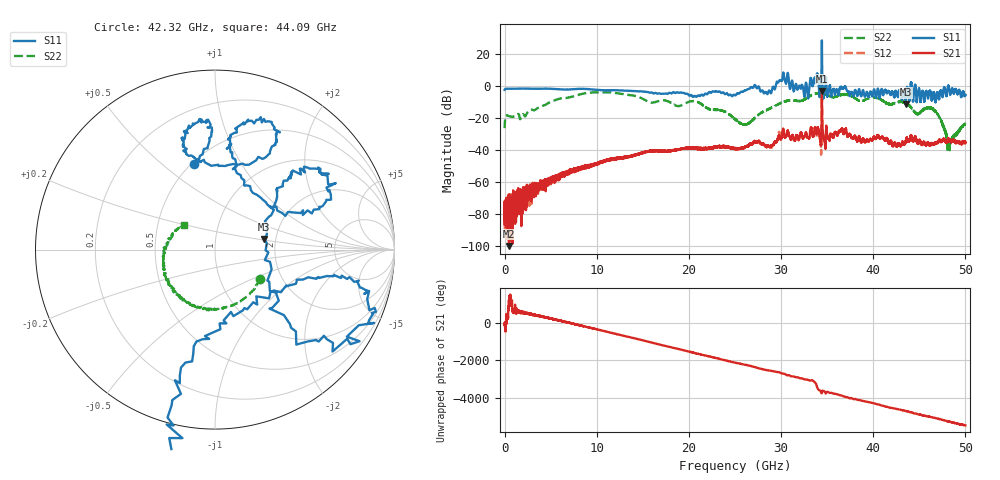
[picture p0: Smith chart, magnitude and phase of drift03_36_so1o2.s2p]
!Created with skrf (http://scikit-rf.org).
# Hz S RI R 50.0
!freq ReS11 ImS11 ReS21 ImS21 ReS12 ImS12 ReS22 ImS22
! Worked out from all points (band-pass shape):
!   10000 points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, 5.3 MHz to 50 GHz, reference 50 ohm
!   highest |S21| = -2.81 dB at 34.43 GHz (marker M1); lowest = -99.6 dB at 480.3 MHz (marker M2)
!   |S21| within 3 dB of the highest: 34.4274 GHz to 34.43517 GHz (7.77 MHz wide, 0.0226 % of centre)
!   lowest |S11| = -11.0 dB at 43.51 GHz (marker M3), VSWR 1.78, Z = 87 + j11.1 ohm
!   |S11| at or under -10 dB: 43.49219 GHz to 43.53699 GHz (44.8 MHz wide, 0.103 % of centre)
!   |S22| runs from -41.0 to -3.6 dB; largest |S21 - S12| = 0.22
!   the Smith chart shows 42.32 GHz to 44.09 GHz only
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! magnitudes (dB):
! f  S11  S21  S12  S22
! 5.3 MHz  -2.1  -76.4  -78.0  -26.0
! 480.3 MHz  -1.4  -99.6  -76.2  -18.6
! 2.22 GHz  -1.3  -66.1  -64.7  -18.7
! 8.34 GHz  -1.5  -50.6  -51.1  -4.7
! 16.67 GHz  -4.4  -40.1  -40.1  -9.1
! 20.75 GHz  -6.3  -38.4  -38.6  -9.4
! 25.01 GHz  -5.5  -38.7  -39.1  -20.6
! 26.22 GHz  -2.3  -37.5  -37.6  -23.6
! 27.37 GHz  -1.1  -34.9  -34.8  -18.5
! 28.72 GHz  -2.5  -37.5  -37.7  -14.0
! 30.14 GHz  4.4  -29.5  -29.8  -10.0
! 32.74 GHz  2.0  -29.6  -29.2  -7.3
! 33.34 GHz  2.6  -27.4  -27.7  -5.3
! 33.82 GHz  4.0  -29.0  -29.6  -4.3
! 34.43 GHz  28.8  -2.8  -4.9  -4.0
! 36.49 GHz  -0.2  -27.9  -28.0  -5.3
! 41.67 GHz  -3.0  -35.6  -35.3  -11.1
! 43.51 GHz  -11.0  -34.5  -34.7  -10.4
! 44.74 GHz  -9.1  -34.9  -34.5  -17.1
! 46.64 GHz  -4.7  -36.4  -35.7  -15.2
! 48.22 GHz  -0.6  -33.8  -33.1  -37.3
! 50 GHz  -5.2  -35.1  -34.8  -23.5
